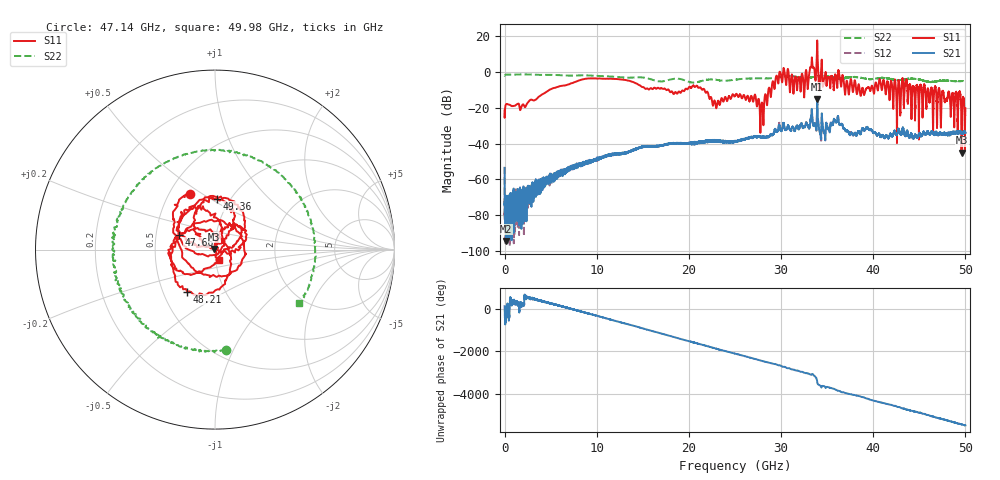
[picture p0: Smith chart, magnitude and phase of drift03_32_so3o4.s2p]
!Created with skrf (http://scikit-rf.org).
# Hz S RI R 50.0
!freq ReS11 ImS11 ReS21 ImS21 ReS12 ImS12 ReS22 ImS22
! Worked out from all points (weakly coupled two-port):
!   10001 points, 300 kHz to 50 GHz, reference 50 ohm
!   highest |S21| = -15.13 dB at 33.92 GHz (marker M1); lowest = -94.4 dB at 170.3 MHz (marker M2)
!   lowest |S11| = -45.1 dB at 49.58 GHz (marker M3), VSWR 1.01, Z = 49.5 + j0.298 ohm
!   |S11| at or under -10 dB: start of sweep to 4.851 GHz; 21.69 GHz to 28.62 GHz (6.931 GHz wide, 27.6 % of centre); 47.19 GHz to end of sweep (the widest 3 of 41)
!   |S22| runs from -5.9 to -1.3 dB; largest |S21 - S12| = 0.018
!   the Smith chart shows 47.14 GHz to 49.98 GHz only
!   S11 on the Smith chart (normalised r, x): 47.14 GHz: 0.63, +0.45; 47.66 GHz: 0.65, +0.12; 48.21 GHz: 0.66, -0.34; 49.36 GHz: 0.87, +0.54; 49.98 GHz: 1.04, -0.12
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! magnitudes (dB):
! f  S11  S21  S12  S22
! 300 kHz  -21.4  -53.6  -53.0  -2.0
! 170.3 MHz  -18.0  -94.4  -77.5  -1.5
! 8.335 GHz  -4.3  -51.5  -51.6  -1.9
! 16.67 GHz  -8.8  -41.4  -41.4  -5.2
! 21.01 GHz  -8.7  -39.2  -39.2  -5.5
! 22.81 GHz  -16.1  -39.1  -38.5  -4.2
! 25 GHz  -13.4  -38.9  -38.8  -4.3
! 27.02 GHz  -15.8  -36.3  -36.1  -3.5
! 27.91 GHz  -17.2  -36.5  -36.3  -3.5
! 29.69 GHz  -6.4  -32.0  -31.6  -3.1
! 32.32 GHz  -1.5  -30.5  -30.6  -3.3
! 33.34 GHz  7.7  -20.6  -21.0  -2.9
! 33.92 GHz  17.6  -15.1  -15.5  -2.5
! 38.81 GHz  -9.0  -31.3  -31.8  -3.4
! 41.67 GHz  -9.0  -36.5  -36.6  -3.6
! 47.14 GHz  -9.3  -34.5  -34.6  -5.0
! 47.66 GHz  -13.2  -34.2  -34.1  -4.8
! 48.21 GHz  -11.1  -33.7  -34.3  -5.0
! 49.36 GHz  -10.9  -33.9  -33.7  -5.1
! 49.58 GHz  -45.1  -34.0  -33.6  -5.1
! 49.98 GHz  -24.3  -33.7  -34.3  -5.1
! 50 GHz  -20.3  -33.9  -34.3  -4.9
